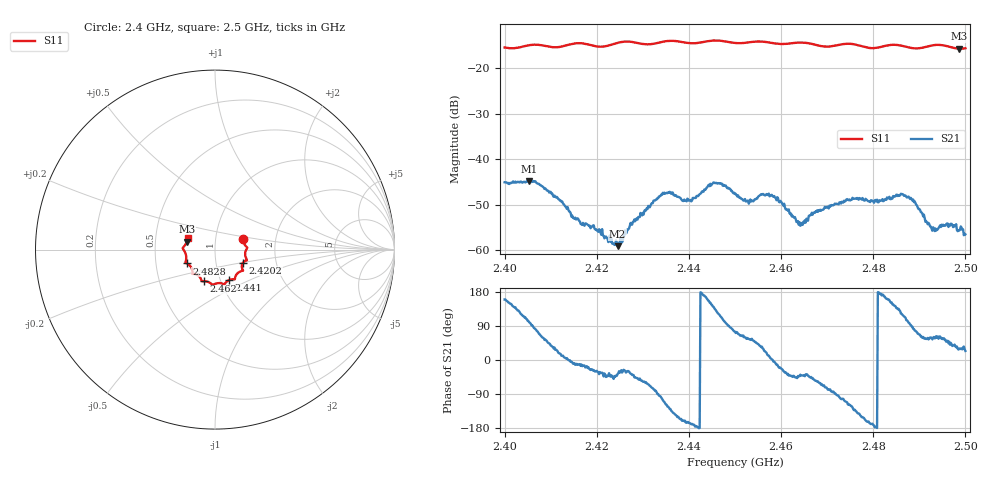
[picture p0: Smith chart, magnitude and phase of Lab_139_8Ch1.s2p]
# Hz S RI R 50
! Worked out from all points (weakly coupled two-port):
!   601 points, 2.4 GHz to 2.5 GHz, reference 50 ohm
!   highest |S21| = -44.77 dB at 2.4053 GHz (marker M1); lowest = -59.1 dB at 2.4245 GHz (marker M2)
!   lowest |S11| = -15.8 dB at 2.4987 GHz (marker M3), VSWR 1.39, Z = 36.3 + j3.26 ohm
!   |S11| at or under -10 dB: start of sweep to end of sweep
!   S12 and S22 are empty: the file has one direction only
!   S11 on the Smith chart (normalised r, x): 2.4 GHz: 1.36, +0.17; 2.4202 GHz: 1.35, -0.20; 2.441 GHz: 1.10, -0.39; 2.462 GHz: 0.83, -0.30; 2.4828 GHz: 0.72, -0.11; 2.5 GHz: 0.73, +0.09
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2.4e9  0.1568 0.061  -0.00523 0.00193  0 0  0 0
2.405333e9  0.1778 0.0141  -0.000938 0.0057  0 0  0 0
2.411333e9  0.1677 -0.0225  0.00348 0.00167  0 0  0 0
2.416667e9  0.1774 -0.0592  0.00189 -0.000395  0 0  0 0
2.420167e9  0.1568 -0.0719  0.0014 -0.000856  0 0  0 0
2.4245e9  0.1536 -0.1104  0.000878 -0.000678  0 0  0 0
2.433333e9  0.1128 -0.1521  9.36e-06 -0.00373  0 0  0 0
2.441e9  0.077 -0.1704  -0.00369 -0.00062  0 0  0 0
2.4455e9  0.0524 -0.1936  -0.00405 0.00376  0 0  0 0
2.45e9  0.0272 -0.1866  0.00108 0.004  0 0  0 0
2.452833e9  0.000659 -0.191  0.00192 0.00294  0 0  0 0
2.458167e9  -0.0265 -0.1862  0.00394 1.93e-05  0 0  0 0
2.462e9  -0.0616 -0.1759  0.00187 -0.00164  0 0  0 0
2.464333e9  -0.0738 -0.1758  0.00142 -0.00123  0 0  0 0
2.466667e9  -0.0773 -0.1673  0.00173 -0.00192  0 0  0 0
2.476e9  -0.1261 -0.1307  -0.00243 -0.00278  0 0  0 0
2.482833e9  -0.1582 -0.0774  -0.0034 0.00112  0 0  0 0
2.483333e9  -0.161 -0.0763  -0.00348 0.00128  0 0  0 0
2.488167e9  -0.1599 -0.0465  -0.000145 0.00376  0 0  0 0
2.493167e9  -0.1785 0.00442  0.000838 0.0015  0 0  0 0
2.498667e9  -0.1569 0.0437  0.00143 0.000824  0 0  0 0
2.5e9  -0.1531 0.0622  0.00137 0.000608  0 0  0 0
